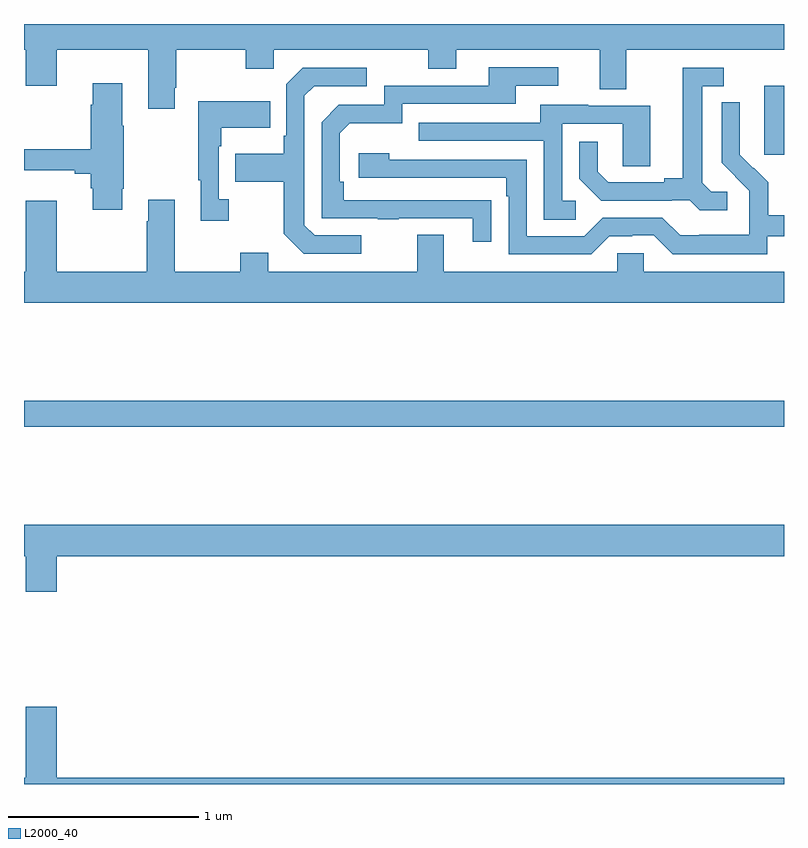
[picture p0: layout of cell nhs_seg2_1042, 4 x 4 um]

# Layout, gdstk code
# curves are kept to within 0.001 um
import gdstk
lib = gdstk.Library(unit=1e-6, precision=1e-09)
def R(c, l, rs):  # rectangles x0, y0, x1, y1
    for r in rs: c.add(gdstk.rectangle(r[:2], r[2:], *l))
def P(c, l, *ps):  # polygons
    for p in ps: c.add(gdstk.Polygon(p, *l))
L2000_40 = (2000, 40)

nhs_seg2_1042 = lib.new_cell('nhs_seg2_1042')
R(nhs_seg2_1042, L2000_40, [(165,617.68,169,617.816), (168.896,619.113,169,619.474)])
P(nhs_seg2_1042, L2000_40, [(167.128,619.565),(167.275,619.565),(167.275,619.664),(168.029,619.664),(168.029,619.456),(168.169,619.456),(168.169,619.664),(169,619.664),(169,619.8),(165,619.8),(165,619.664),(165.008,619.664),(165.008,619.476),(165.172,619.476),(165.172,619.664),(165.653,619.664),(165.653,619.353),(165.793,619.353),(165.793,619.465),(165.801,619.465),(165.801,619.664),(166.168,619.664),(166.168,619.565),(166.314,619.565),(166.314,619.664),(167.128,619.664)],
  [(167.459,618.872),(166.682,618.873),(166.682,618.97),(166.662,618.97),(166.662,619.224),(166.715,619.277),(166.992,619.277),(166.992,619.38),(167.587,619.38),(167.587,619.476),(167.812,619.476),(167.812,619.572),(167.447,619.572),(167.447,619.476),(166.896,619.476),(166.896,619.374),(166.656,619.374),(166.566,619.284),(166.566,618.777),(166.861,618.777),(166.861,618.772),(166.973,618.772),(166.973,618.777),(167.363,618.777),(167.363,618.654),(167.459,618.654)],
  [(168.7,618.918),(168.618,618.918),(168.571,618.965),(168.571,619.473),(168.682,619.473),(168.682,619.569),(168.467,619.569),(168.467,618.989),(168.371,618.989),(168.371,618.966),(168.076,618.966),(168.019,619.023),(168.019,619.18),(167.922,619.18),(167.922,618.986),(168.038,618.87),(168.41,618.87),(168.41,618.873),(168.504,618.873),(168.556,618.821),(168.7,618.821)],
  [(166.774,618.687),(166.53,618.687),(166.476,618.741),(166.476,619.422),(166.527,619.473),(166.804,619.473),(166.804,619.569),(166.467,619.569),(166.38,619.482),(166.38,619.213),(166.368,619.213),(166.368,619.117),(166.111,619.117),(166.111,618.97),(166.368,618.97),(166.368,618.697),(166.473,618.591),(166.774,618.591)],
  [(165.517,618.934),(165.525,618.934),(165.525,619.265),(165.517,619.265),(165.517,619.489),(165.362,619.489),(165.362,619.376),(165.35,619.376),(165.35,619.141),(165,619.141),(165,619.031),(165.266,619.031),(165.266,619.012),(165.35,619.012),(165.35,618.935),(165.362,618.935),(165.362,618.822),(165.517,618.822)],
  [(166.078,618.878),(166.026,618.878),(166.026,619.157),(166.039,619.157),(166.039,619.253),(166.295,619.253),(166.295,619.393),(165.918,619.393),(165.918,618.977),(165.929,618.977),(165.929,618.765),(166.078,618.765)],
  [(168.912,618.684),(169,618.684),(169,618.793),(168.917,618.793),(168.917,618.967),(168.84,619.044),(168.837,619.041),(168.767,619.112),(168.768,619.388),(168.672,619.388),(168.672,619.07),(168.818,618.922),(168.818,618.825),(168.816,618.825),(168.816,618.691),(168.553,618.691),(168.553,618.687),(168.453,618.687),(168.36,618.78),(168.045,618.78),(167.949,618.684),(167.646,618.684),(167.646,619.086),(166.922,619.086),(166.922,619.12),(166.761,619.12),(166.761,618.99),(167.537,618.99),(167.537,618.893),(167.55,618.893),(167.55,618.588),(167.985,618.588),(168.081,618.684),(168.2,618.684),(168.2,618.687),(168.315,618.687),(168.415,618.587),(168.912,618.587)],
  [(167.905,618.87),(167.832,618.87),(167.832,619.275),(168.15,619.275),(168.15,619.051),(168.295,619.051),(168.295,619.371),(167.971,619.371),(167.971,619.375),(167.717,619.375),(167.717,619.281),(167.077,619.281),(167.077,619.185),(167.736,619.185),(167.736,618.769),(167.905,618.769)],
  [(169,618.496),(168.261,618.496),(168.261,618.594),(168.123,618.594),(168.123,618.496),(167.209,618.496),(167.209,618.691),(167.069,618.691),(167.069,618.496),(166.285,618.496),(166.285,618.595),(166.138,618.595),(166.138,618.496),(165.793,618.496),(165.793,618.874),(165.653,618.874),(165.653,618.761),(165.646,618.761),(165.646,618.496),(165.172,618.496),(165.172,618.871),(165.008,618.871),(165.008,618.496),(165,618.496),(165,618.332),(169,618.332)],
  [(165.172,617),(169,617),(169,617.164),(165,617.164),(165,617),(165.008,617),(165.008,616.812),(165.172,616.812)],
  [(169,615.832),(165.172,615.832),(165.172,616.207),(165.008,616.207),(165.008,615.832),(165,615.832),(165,615.8),(169,615.8)])

lib.write_gds('nhs_seg2_1042.gds')
